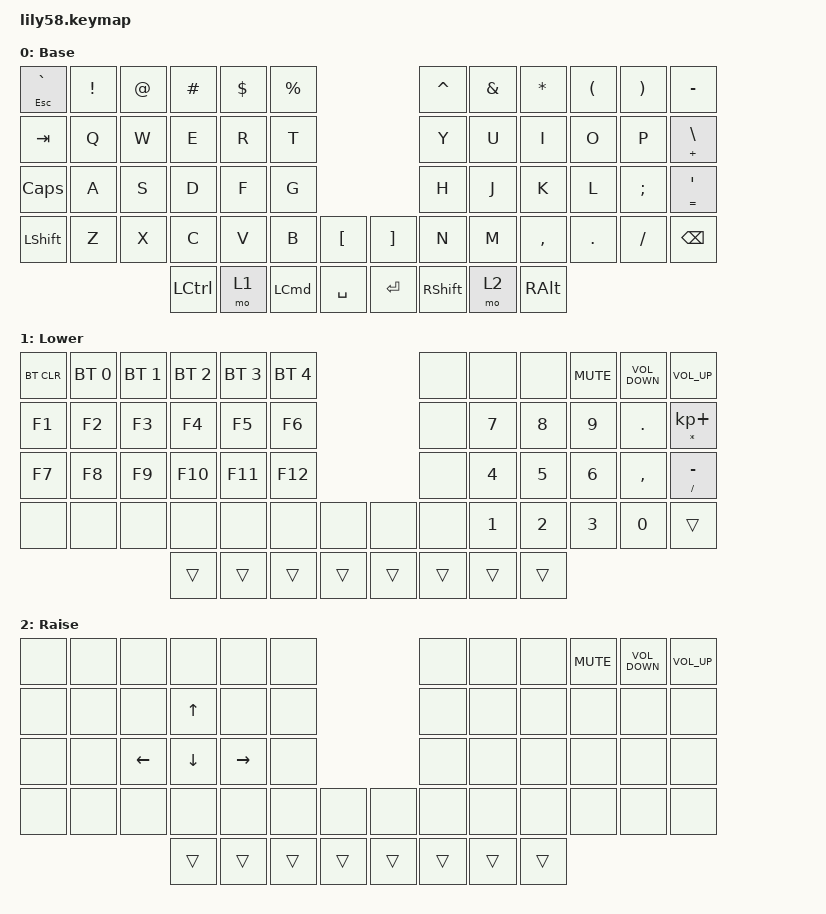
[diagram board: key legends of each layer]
/*
 * Copyright (c) 2020 The ZMK Contributors
 *
 * SPDX-License-Identifier: MIT
 */

#include <behaviors.dtsi>
#include <dt-bindings/zmk/bt.h>
#include <dt-bindings/zmk/keys.h>

/ {
    keymap {
        compatible = "zmk,keymap";

        default_layer {
            // ------------------------------------------------------------------------------------------------------------
            // |  ESC  |  1  |  2  |  3   |  4   |  5   |                   |  6   |  7    |  8    |  9   |   0   |   `   |
            // |  TAB  |  Q  |  W  |  E   |  R   |  T   |                   |  Y   |  U    |  I    |  O   |   P   |   -   |
            // |  CTRL |  A  |  S  |  D   |  F   |  G   |                   |  H   |  J    |  K    |  L   |   ;   |   '   |
            // | SHIFT |  Z  |  X  |  C   |  V   |  B   |   "["  |  |  "]"  |  N   |  M    |  ,    |  .   |   /   | SHIFT |
            //                     | ALT  | GUI  | LOWER|  SPACE |  | ENTER | RAISE| BSPC  | GUI   |

            display-name = "Base";
            bindings = <
&mt ESC GRAVE  &kp EXCLAMATION  &kp AT_SIGN  &kp POUND         &kp DOLLAR  &kp PERCENT                              &kp CARET        &kp AMPERSAND  &kp ASTERISK   &kp LEFT_PARENTHESIS  &kp RIGHT_PARENTHESIS  &kp MINUS
&kp TAB        &kp Q            &kp W        &kp E             &kp R       &kp T                                    &kp Y            &kp U          &kp I          &kp O                 &kp P                  &mt PLUS BACKSLASH
&kp CAPSLOCK   &kp A            &kp S        &kp D             &kp F       &kp G                                    &kp H            &kp J          &kp K          &kp L                 &kp SEMI               &mt EQUAL SQT
&kp LSHFT      &kp Z            &kp X        &kp C             &kp V       &kp B             &kp LBKT     &kp RBKT  &kp N            &kp M          &kp COMMA      &kp DOT               &kp FSLH               &kp BACKSPACE
                                             &kp LEFT_CONTROL  &mo 1       &kp LEFT_COMMAND  &kp SPACE    &kp RET   &kp RIGHT_SHIFT  &mo 2          &kp RIGHT_ALT
            >;
        };

        lower_layer {
            // ------------------------------------------------------------------------------------------------------------
            // | BTCLR | BT1 | BT2 |  BT3 |  BT4 |  BT5 |                   |      |       |       |      |       |       |
            // |  F1   |  F2 |  F3 |  F4  |  F5  |  F6  |                   |  F7  |  F8   |  F9   |  F10 |  F11  |  F12  |
            // |   `   |  !  |  @  |  #   |  $   |  %   |                   |  ^   |  &    |  *    |  (   |   )   |   ~   |
            // |       |     |     |      |      |      |        |  |       |      |  _    |  +    |  {   |   }   |  "|"  |
            //                     |      |      |      |        |  |       |      |       |       |

            display-name = "Lower";
            bindings = <
&bt BT_CLR  &bt BT_SEL 0  &bt BT_SEL 1  &bt BT_SEL 2  &bt BT_SEL 3  &bt BT_SEL 4                    &none   &none         &none         &kp C_MUTE    &kp C_VOLUME_DOWN  &kp C_VOLUME_UP
&kp F1      &kp F2        &kp F3        &kp F4        &kp F5        &kp F6                          &none   &kp NUMBER_7  &kp NUMBER_8  &kp NUMBER_9  &kp PERIOD         &mt ASTERISK KP_PLUS
&kp F7      &kp F8        &kp F9        &kp F10       &kp F11       &kp F12                         &none   &kp NUMBER_4  &kp NUMBER_5  &kp NUMBER_6  &kp COMMA          &mt SLASH MINUS
&none       &none         &none         &none         &none         &none         &none     &none   &none   &kp NUMBER_1  &kp NUMBER_2  &kp NUMBER_3  &kp NUMBER_0       &trans
                                        &trans        &trans        &trans        &trans    &trans  &trans  &trans        &trans
            >;
        };

        raise_layer {
            // ------------------------------------------------------------------------------------------------------------
            // |       |     |     |      |      |      |                   |      |       |       |      |       |       |
            // |   `   |  1  |  2  |  3   |  4   |  5   |                   |  6   |   7   |   8   |  9   |   0   |       |
            // |   F1  |  F2 |  F3 |  F4  |  F5  |  F6  |                   |      |   <-  |   v   |  ^   |  ->   |       |
            // |   F7  |  F8 |  F9 |  F10 |  F11 |  F12 |        |  |       |  +   |   -   |   =   |  [   |   ]   |   \   |
            //                     |      |      |      |        |  |       |      |       |       |

            display-name = "Raise";
            bindings = <
&none  &none  &none     &none     &none      &none                     &none   &none   &none   &kp C_MUTE  &kp C_VOLUME_DOWN  &kp C_VOLUME_UP
&none  &none  &none     &kp UP    &none      &none                     &none   &none   &none   &none       &none              &none
&none  &none  &kp LEFT  &kp DOWN  &kp RIGHT  &none                     &none   &none   &none   &none       &none              &none
&none  &none  &none     &none     &none      &none   &none     &none   &none   &none   &none   &none       &none              &none
                        &trans    &trans     &trans  &trans    &trans  &trans  &trans  &trans
            >;
        };
    };
};
